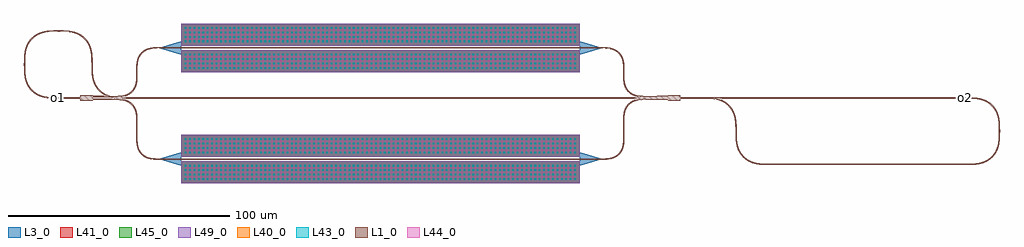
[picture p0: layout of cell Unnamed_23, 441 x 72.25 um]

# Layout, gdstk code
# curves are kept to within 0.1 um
from math import pi, radians
import gdstk
lib = gdstk.Library(unit=1e-6, precision=1e-09)
def R(c, l, rs):  # rectangles x0, y0, x1, y1
    for r in rs: c.add(gdstk.rectangle(r[:2], r[2:], *l))
def P(c, l, *ps):  # polygons
    for p in ps: c.add(gdstk.Polygon(p, *l))
L1_0 = (1, 0)
L3_0 = (3, 0)
L40_0 = (40, 0)
L41_0 = (41, 0)
L43_0 = (43, 0)
L44_0 = (44, 0)
L45_0 = (45, 0)
L49_0 = (49, 0)

mmi1x2_wnone_wt1_lt10_l_ = lib.new_cell('mmi1x2_WNone_WT1_LT10_L_4e0f7121')
P(mmi1x2_wnone_wt1_lt10_l_, L1_0, [(0,-1.25),(0,-0.5),(-10,-0.25),(-10,0.25),(0,0.5),(0,1.25),(5.5,1.25),(5.5,1.125),(15.5,0.875),(15.5,0.375),(5.5,0.125),(5.5,-0.125),(15.5,-0.375),(15.5,-0.875),(5.5,-1.125),(5.5,-1.25)])

bend_euler_rnone_a90_p0_ = lib.new_cell('bend_euler_RNone_A90_P0_d7c3a5a9')
P(bend_euler_rnone_a90_p0_, L1_0, [(0,-0.25),(0,0.25),(2.881,0.353),(3.952,0.52),(4.99,0.806),(6.431,1.505),(7.575,2.425),(8.495,3.569),(9.194,5.01),(9.48,6.048),(9.647,7.119),(9.75,10),(10.25,10),(10.158,7.205),(9.797,5.254),(9.457,4.312),(9.066,3.545),(8.5,2.715),(7.928,2.072),(7.285,1.5),(6.455,0.934),(5.688,0.543),(4.746,0.203),(2.795,-0.158)])

straight_l2_n2_csstrip_w = lib.new_cell('straight_L2_N2_CSstrip_WNone')
R(straight_l2_n2_csstrip_w, L1_0, [(0,-0.25,2,0.25)])

straight_l7_n2_csstrip_w = lib.new_cell('straight_L7_N2_CSstrip_WNone')
R(straight_l7_n2_csstrip_w, L1_0, [(0,-0.25,7,0.25)])

straight_l180_n2_csstrip = lib.new_cell('straight_L180_N2_CSstrip_WNone')
R(straight_l180_n2_csstrip, L1_0, [(0,-0.25,180,0.25)])

taper_strip_to_ridge_l1_ = lib.new_cell('taper_strip_to_ridge_L1_3a86af41')
R(taper_strip_to_ridge_l1_, L1_0, [(0,-0.25,10,0.25)])
P(taper_strip_to_ridge_l1_, L3_0, [(10,-3),(0,-0.075),(0,0.075),(10,3)])

compass_s180_10_lslab90_ = lib.new_cell('compass_S180_10_LSLAB90_05ffcaa3')
R(compass_s180_10_lslab90_, L3_0, [(-90,-5,90,5)])

compass_s180_10_lm1_ptn_ = lib.new_cell('compass_S180_10_LM1_PTN_a9660620')
R(compass_s180_10_lm1_ptn_, L41_0, [(-90,-5,90,5)])

compass_s180_10_lm2_ptn_ = lib.new_cell('compass_S180_10_LM2_PTN_655a0ab1')
R(compass_s180_10_lm2_ptn_, L45_0, [(-90,-5,90,5)])

compass_s180_10_lmtop_p_ = lib.new_cell('compass_S180_10_LMTOP_P_11bbb343')
R(compass_s180_10_lmtop_p_, L49_0, [(-90,-5,90,5)])

via_s0p7_0p7_snone_gnon_ = lib.new_cell('via_S0p7_0p7_SNone_GNon_9f66867f')
R(via_s0p7_0p7_snone_gnon_, L40_0, [(-0.35,-0.35,0.35,0.35)])

c_via_s0p7_0p7_snone_gnon_ = lib.new_cell('via_S0p7_0p7_SNone_GNon_d0c93b95')
R(c_via_s0p7_0p7_snone_gnon_, L44_0, [(-0.35,-0.35,0.35,0.35)])

c_via_s0p7_0p7_snone_gnon__ = lib.new_cell('via_S0p7_0p7_SNone_GNon_a794b952')
R(c_via_s0p7_0p7_snone_gnon__, L43_0, [(-0.35,-0.35,0.35,0.35)])

via_stack_s180_10_lslab_ = lib.new_cell('via_stack_S180_10_LSLAB_6f7f59c7')
via_stack_s180_10_lslab_.add(gdstk.Reference(compass_s180_10_lslab90_, (0,0)))
via_stack_s180_10_lslab_.add(gdstk.Reference(compass_s180_10_lm1_ptn_, (0,0)))
via_stack_s180_10_lslab_.add(gdstk.Reference(compass_s180_10_lm2_ptn_, (0,0)))
via_stack_s180_10_lslab_.add(gdstk.Reference(compass_s180_10_lmtop_p_, (0,0)))
r = gdstk.Reference(via_s0p7_0p7_snone_gnon_, (-88,-3)); r.repetition = gdstk.Repetition(89, 4, v1=(2,0), v2=(0,2)); via_stack_s180_10_lslab_.add(r)
r = gdstk.Reference(c_via_s0p7_0p7_snone_gnon_, (-87,-2)); r.repetition = gdstk.Repetition(88, 3, v1=(2,0), v2=(0,2)); via_stack_s180_10_lslab_.add(r)
r = gdstk.Reference(c_via_s0p7_0p7_snone_gnon__, (-88,-3)); r.repetition = gdstk.Repetition(89, 4, v1=(2,0), v2=(0,2)); via_stack_s180_10_lslab_.add(r)

straight_pin_l200_csstr_ = lib.new_cell('straight_pin_L200_CSstr_ff9b3a61')
straight_pin_l200_csstr_.add(gdstk.Reference(straight_l180_n2_csstrip, (0,0)))
straight_pin_l200_csstr_.add(gdstk.Reference(taper_strip_to_ridge_l1_, (-10,0)))
straight_pin_l200_csstr_.add(gdstk.Reference(taper_strip_to_ridge_l1_, (190,0), rotation=pi))
straight_pin_l200_csstr_.add(gdstk.Reference(via_stack_s180_10_lslab_, (90,6)))
straight_pin_l200_csstr_.add(gdstk.Reference(via_stack_s180_10_lslab_, (90,-6)))

mzi_dl10_ly2_lx200_bben_ = lib.new_cell('mzi_DL10_LY2_LX200_Bben_ff43f7ce')
mzi_dl10_ly2_lx200_bben_.add(gdstk.Reference(mmi1x2_wnone_wt1_lt10_l_, (0,0)))
mzi_dl10_ly2_lx200_bben_.add(gdstk.Reference(bend_euler_rnone_a90_p0_, (15.5,-0.625), x_reflection=True))
mzi_dl10_ly2_lx200_bben_.add(gdstk.Reference(bend_euler_rnone_a90_p0_, (25.5,-17.625), rotation=3*pi/2))
mzi_dl10_ly2_lx200_bben_.add(gdstk.Reference(bend_euler_rnone_a90_p0_, (15.5,0.625)))
mzi_dl10_ly2_lx200_bben_.add(gdstk.Reference(bend_euler_rnone_a90_p0_, (35.5,22.625), rotation=pi))
mzi_dl10_ly2_lx200_bben_.add(gdstk.Reference(bend_euler_rnone_a90_p0_, (245.5,12.625), rotation=pi/2))
mzi_dl10_ly2_lx200_bben_.add(gdstk.Reference(bend_euler_rnone_a90_p0_, (245.5,10.625), rotation=3*pi/2))
mzi_dl10_ly2_lx200_bben_.add(gdstk.Reference(bend_euler_rnone_a90_p0_, (235.5,-27.625)))
mzi_dl10_ly2_lx200_bben_.add(gdstk.Reference(bend_euler_rnone_a90_p0_, (255.5,-0.625), rotation=pi))
mzi_dl10_ly2_lx200_bben_.add(gdstk.Reference(straight_l2_n2_csstrip_w, (25.5,10.625), rotation=pi/2))
mzi_dl10_ly2_lx200_bben_.add(gdstk.Reference(straight_l7_n2_csstrip_w, (25.5,-10.625), rotation=3*pi/2))
mzi_dl10_ly2_lx200_bben_.add(gdstk.Reference(straight_pin_l200_csstr_, (45.5,22.625)))
mzi_dl10_ly2_lx200_bben_.add(gdstk.Reference(straight_pin_l200_csstr_, (45.5,-27.625)))
mzi_dl10_ly2_lx200_bben_.add(gdstk.Reference(mmi1x2_wnone_wt1_lt10_l_, (271,0), rotation=pi, x_reflection=True))
mzi_dl10_ly2_lx200_bben_.add(gdstk.Reference(straight_l2_n2_csstrip_w, (245.5,10.625), rotation=pi/2))
mzi_dl10_ly2_lx200_bben_.add(gdstk.Reference(straight_l7_n2_csstrip_w, (245.5,-17.625), rotation=pi/2))

straight_l100_n2_csstrip = lib.new_cell('straight_L100_N2_CSstrip_WNone')
R(straight_l100_n2_csstrip, L1_0, [(0,-0.25,100,0.25)])

bend_euler_r15_a90_p0p5_ = lib.new_cell('bend_euler_R15_A90_P0p5_3fb75c97')
P(bend_euler_r15_a90_p0p5_, L1_0, [(0,-0.25),(0,0.25),(2.31,0.273),(4.332,0.406),(5.924,0.652),(7.346,1.03),(8.467,1.471),(9.541,2.045),(10.54,2.741),(11.45,3.55),(12.259,4.46),(12.955,5.459),(13.529,6.533),(13.97,7.654),(14.348,9.076),(14.594,10.668),(14.727,12.69),(14.75,15),(15.25,15),(15.222,12.537),(15.106,10.752),(14.891,9.246),(14.569,7.896),(14.099,6.583),(13.527,5.441),(12.739,4.262),(11.804,3.196),(10.738,2.261),(9.559,1.473),(8.417,0.901),(7.104,0.431),(5.754,0.109),(4.248,-0.106),(2.463,-0.222)])

straight_l0p25_n2_csstri = lib.new_cell('straight_L0p25_N2_CSstrip_WNone')
R(straight_l0p25_n2_csstri, L1_0, [(0,-0.25,0.25,0.25)])

straight_l0p501_n2_csstr = lib.new_cell('straight_L0p501_N2_CSstrip_WNone')
R(straight_l0p501_n2_csstr, L1_0, [(0,-0.25,0.501,0.25)])

straight_l279p749_n2_cs_ = lib.new_cell('straight_L279p749_N2_CS_a664a84b')
R(straight_l279p749_n2_cs_, L1_0, [(0,-0.25,279.749,0.25)])

straight_l89_n2_csstrip_ = lib.new_cell('straight_L89_N2_CSstrip_WNone')
R(straight_l89_n2_csstrip_, L1_0, [(0,-0.25,89,0.25)])

unnamed_23 = lib.new_cell('Unnamed_23')
P(unnamed_23, L1_0, [(-10,-0.25),(-10.25,0),(-10.062,0.188),(-10.025,0.188),(-10.215,0),(-10.025,0),(-10.025,0.188),(-10.062,0.188),(-10,0.25)],
  [(400,-0.25),(400,0),(400.025,0),(400.025,-0.188),(400.215,0),(400,0),(400,0.25),(400.25,0)])
unnamed_23.add(gdstk.Reference(mzi_dl10_ly2_lx200_bben_, (0,0)))
unnamed_23.add(gdstk.Reference(straight_l100_n2_csstrip, (300,0)))
unnamed_23.add(gdstk.Reference(bend_euler_r15_a90_p0p5_, (-25.25,15), rotation=3*pi/2))
unnamed_23.add(gdstk.Reference(straight_l0p25_n2_csstri, (-10.25,0)))
unnamed_23.add(gdstk.Reference(bend_euler_r15_a90_p0p5_, (-10.25,30.25), rotation=pi))
unnamed_23.add(gdstk.Reference(straight_l0p25_n2_csstri, (-25.25,15.25), rotation=3*pi/2))
unnamed_23.add(gdstk.Reference(bend_euler_r15_a90_p0p5_, (5.251,15.25), rotation=pi/2))
unnamed_23.add(gdstk.Reference(straight_l0p501_n2_csstr, (-9.749,30.25), rotation=pi))
unnamed_23.add(gdstk.Reference(bend_euler_r15_a90_p0p5_, (20.251,0), rotation=pi, x_reflection=True))
unnamed_23.add(gdstk.Reference(straight_l0p25_n2_csstri, (5.251,15), rotation=pi/2))
unnamed_23.add(gdstk.Reference(straight_l279p749_n2_cs_, (20.251,0)))
unnamed_23.add(gdstk.Reference(bend_euler_r15_a90_p0p5_, (296.25,-15), rotation=pi/2))
unnamed_23.add(gdstk.Reference(straight_l0p25_n2_csstri, (281.25,0), rotation=pi))
unnamed_23.add(gdstk.Reference(bend_euler_r15_a90_p0p5_, (311.25,-30), rotation=pi, x_reflection=True))
unnamed_23.add(gdstk.Reference(bend_euler_r15_a90_p0p5_, (415.25,-15), rotation=3*pi/2, x_reflection=True))
unnamed_23.add(gdstk.Reference(straight_l89_n2_csstrip_, (400.25,-30), rotation=pi))
unnamed_23.add(gdstk.Reference(bend_euler_r15_a90_p0p5_, (400.25,0), x_reflection=True))
unnamed_23.add(gdstk.Reference(straight_l0p25_n2_csstri, (400.25,0), rotation=pi))
unnamed_23.add(gdstk.Label('o1', (-10,0), layer=1, texttype=0))
unnamed_23.add(gdstk.Label('o2', (400,0), layer=1, texttype=0))

lib.write_gds('Unnamed_23.gds')
